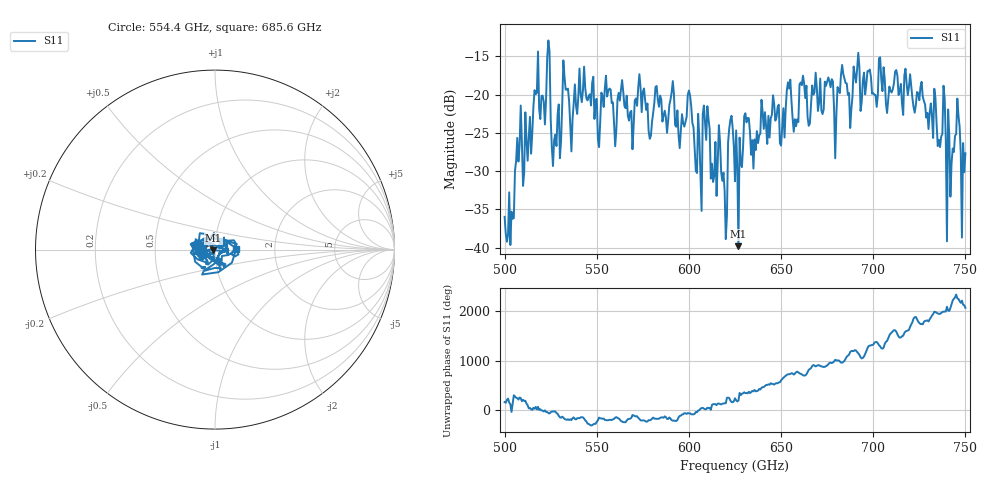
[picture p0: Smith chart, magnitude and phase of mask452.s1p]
!Created with skrf (http://scikit-rf.org).
# GHz S MA R 50.0
!freq magS11 angS11
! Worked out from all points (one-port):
!   401 points, 500 GHz to 750 GHz, reference 50 ohm
!   lowest |S11| = -39.8 dB at 626.9 GHz (marker M1), VSWR 1.02, Z = 49 - j0.282 ohm
!   |S11| at or under -10 dB: start of sweep to end of sweep
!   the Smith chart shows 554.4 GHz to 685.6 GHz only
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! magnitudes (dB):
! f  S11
! 500 GHz  -36.0
! 516.9 GHz  -19.9
! 523.8 GHz  -12.9
! 526.9 GHz  -25.9
! 531.2 GHz  -21.4
! 562.5 GHz  -20.8
! 579.4 GHz  -25.4
! 590.6 GHz  -19.7
! 593.8 GHz  -22.1
! 600.6 GHz  -20.1
! 605.6 GHz  -25.5
! 609.4 GHz  -25.9
! 619.4 GHz  -32.6
! 622.5 GHz  -23.3
! 625 GHz  -31.3
! 626.9 GHz  -39.8
! 631.2 GHz  -23.6
! 635 GHz  -29.7
! 656.2 GHz  -23.1
! 680 GHz  -22.6
! 683.8 GHz  -17.3
! 687.5 GHz  -24.4
! 690.6 GHz  -18.4
! 718.8 GHz  -20.1
! 738.1 GHz  -18.8
! 741.2 GHz  -25.3
! 745.6 GHz  -20.5
! 750 GHz  -27.7
